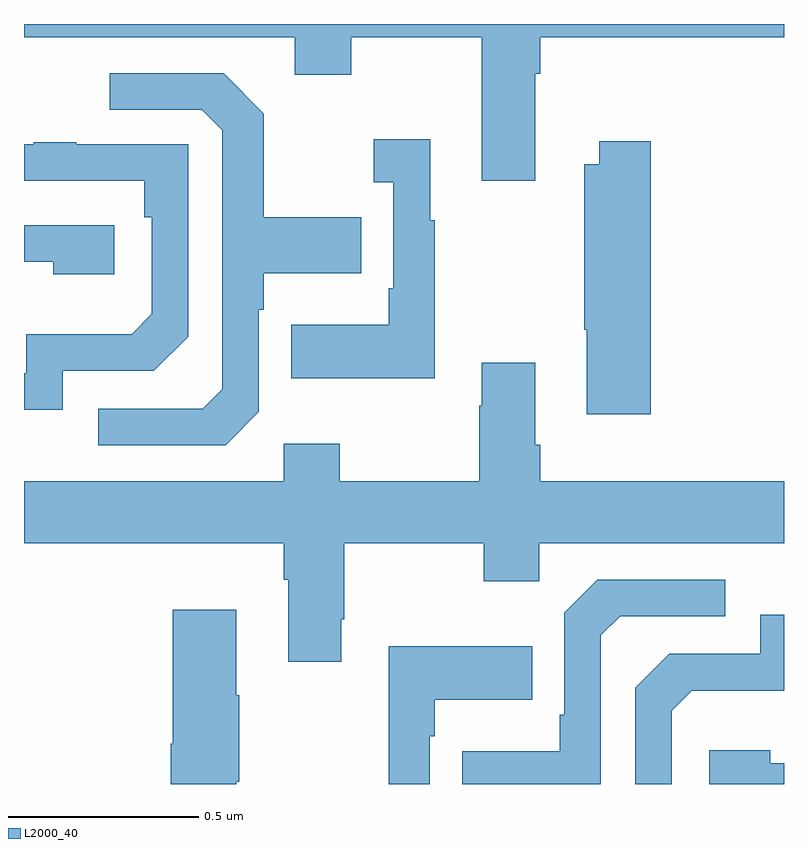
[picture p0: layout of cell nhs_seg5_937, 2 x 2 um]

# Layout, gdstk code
import gdstk
lib = gdstk.Library(unit=1e-6, precision=1e-09)
def P(c, l, *ps):  # polygons
    for p in ps: c.add(gdstk.Polygon(p, *l))
L2000_40 = (2000, 40)

nhs_seg5_937 = lib.new_cell('nhs_seg5_937')
P(nhs_seg5_937, L2000_40, [(124.345,852.668),(124.358,852.668),(124.358,852.764),(125,852.764),(125,852.799),(123,852.799),(123,852.764),(123.713,852.764),(123.713,852.665),(123.861,852.665),(123.861,852.764),(124.205,852.764),(124.205,852.387),(124.345,852.387)],
  [(123.618,851.778),(123.618,852.047),(123.631,852.047),(123.631,852.143),(123.887,852.143),(123.887,852.291),(123.631,852.291),(123.631,852.563),(123.525,852.669),(123.225,852.669),(123.225,852.573),(123.468,852.573),(123.522,852.519),(123.522,851.838),(123.471,851.787),(123.195,851.787),(123.195,851.691),(123.531,851.691)],
  [(124.081,852.283),(124.069,852.283),(124.069,852.496),(123.921,852.496),(123.921,852.383),(123.972,852.383),(123.972,852.103),(123.96,852.103),(123.96,852.007),(123.703,852.007),(123.703,851.867),(124.081,851.867)],
  [(124.649,852.49),(124.514,852.49),(124.514,852.43),(124.474,852.43),(124.474,851.995),(124.481,851.995),(124.481,851.772),(124.649,851.772)],
  [(123.102,851.886),(123.342,851.886),(123.432,851.976),(123.432,852.483),(123.137,852.483),(123.137,852.488),(123.025,852.488),(123.025,852.483),(123,852.483),(123,852.387),(123.316,852.387),(123.316,852.29),(123.336,852.29),(123.336,852.036),(123.283,851.983),(123.006,851.983),(123.006,851.88),(123,851.88),(123,851.784),(123.102,851.784)],
  [(123.238,852.27),(123,852.27),(123,852.174),(123.077,852.174),(123.077,852.14),(123.238,852.14)],
  [(123.835,851.233),(123.843,851.233),(123.843,851.432),(124.21,851.432),(124.21,851.333),(124.356,851.333),(124.356,851.432),(125,851.432),(125,851.596),(124.358,851.596),(124.358,851.692),(124.345,851.692),(124.345,851.908),(124.205,851.908),(124.205,851.795),(124.198,851.795),(124.198,851.596),(123.831,851.596),(123.831,851.695),(123.684,851.695),(123.684,851.596),(123,851.596),(123,851.432),(123.683,851.432),(123.683,851.336),(123.695,851.336),(123.695,851.121),(123.835,851.121)],
  [(124.518,851.19),(124.569,851.241),(124.846,851.241),(124.846,851.337),(124.509,851.337),(124.422,851.25),(124.422,850.981),(124.41,850.981),(124.41,850.885),(124.153,850.885),(124.153,850.799),(124.518,850.799)],
  [(123.559,850.805),(123.567,850.805),(123.567,851.033),(123.559,851.033),(123.559,851.257),(123.392,851.257),(123.392,850.905),(123.386,850.905),(123.386,850.799),(123.559,850.799)],
  [(124.704,850.992),(124.757,851.045),(125,851.045),(125,851.244),(124.938,851.244),(124.938,851.142),(124.698,851.142),(124.608,851.052),(124.608,850.799),(124.704,850.799)],
  [(124.068,850.925),(124.081,850.925),(124.081,851.021),(124.337,851.021),(124.337,851.161),(123.96,851.161),(123.96,850.799),(124.068,850.799)],
  [(125,850.854),(124.964,850.854),(124.964,850.888),(124.803,850.888),(124.803,850.799),(125,850.799)])

lib.write_gds('nhs_seg5_937.gds')
